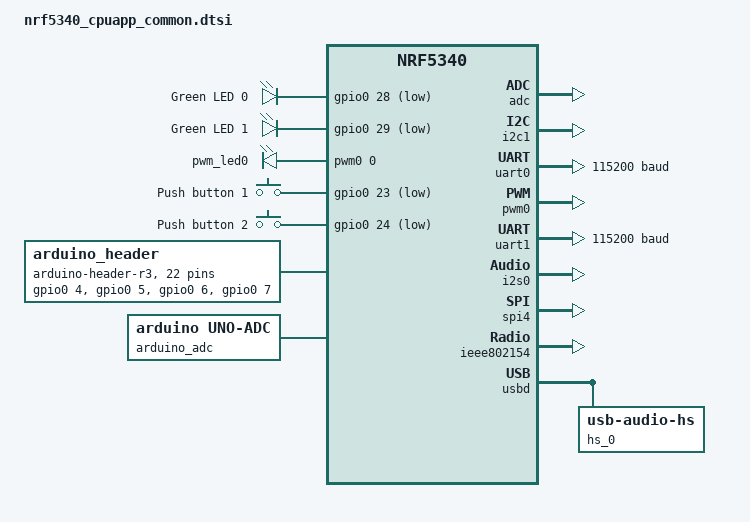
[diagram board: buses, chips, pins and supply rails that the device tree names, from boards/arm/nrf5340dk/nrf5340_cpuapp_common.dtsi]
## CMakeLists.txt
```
# SPDX-License-Identifier: Apache-2.0

cmake_minimum_required(VERSION 3.20.0)
list(APPEND BOARD_ROOT ${CMAKE_CURRENT_SOURCE_DIR}/)
find_package(Zephyr REQUIRED HINTS $ENV{ZEPHYR_BASE})
project(unicast_audio_server)

target_sources(app PRIVATE
  src/app_main.c
  src/hal_uart.c
  src/hal_gpio.c
  # src/hal_i2s.c
  src/audio_usb.c
  src/audio_i2s.c
)

 
zephyr_library_include_directories(${ZEPHYR_BASE}/samples/bluetooth)
zephyr_library_include_directories(app PRIVATE ${CMAKE_CURRENT_SOURCE_DIR}/boards)

# Flag which defines whether application is compiled as gateway/dongle or headset
add_compile_definitions(HEADSET=1)
add_compile_definitions(GATEWAY=2)

if (CONFIG_BT_LL_ACS_NRF53)
      file(TO_CMAKE_PATH ${ZEPHYR_NRF_MODULE_DIR}/lib/bin/bt_ll_acs_nrf53/bin CMAKE_STYLE_LL_ACS_NRF53_BIN)
 
      add_custom_target(
          post_bin ALL
          DEPENDS
          ${BLE5_CTR_SIGN_STEP}
      )
 
endif()
```

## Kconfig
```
#
# Copyright (c) 2018 Nordic Semiconductor ASA
#
# SPDX-License-Identifier: LicenseRef-Nordic-5-Clause
#

menuconfig NRF5340_AUDIO
	 bool "nRF5340 Audio [EXPERIMENTAL]"
	 default y
	 select EXPERIMENTAL

if NRF5340_AUDIO

config AUDIO_DEV
	int "Select which device type to compile for. 1=HEADSET or 2=GATEWAY"
	range 1 2
	default 2
	help
	  Setting this variable to 1 selects that the project is compiled
	  as a HEADSET device.
	  Setting to 2 will compile as a GATEWAY.

choice NRF5340_AUDIO_TRANSPORT_MODE
	prompt "Choose BIS or CIS for ISO transport"
	default TRANSPORT_CIS if WALKIE_TALKIE_DEMO
	default TRANSPORT_CIS

config TRANSPORT_BIS
	bool "Use BIS (Broadcast Isochronous Stream)"

config TRANSPORT_CIS
	bool "Use CIS (Connected Isochronous Stream)"

endchoice

rsource "src/Kconfig"
rsource "Kconfig.defaults"

#----------------------------------------------------------------------------#
endif # NRF5340_AUDIO
 
source "Kconfig.zephyr"
```

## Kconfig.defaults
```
#
# Copyright (c) 2022 Nordic Semiconductor ASA
#
# SPDX-License-Identifier: LicenseRef-Nordic-5-Clause
#

config REBOOT
	default y

config MAIN_THREAD_PRIORITY
	default 10

config MAIN_STACK_SIZE
	default 1800 if SD_CARD_PLAYBACK
	default 1600

config SYSTEM_WORKQUEUE_STACK_SIZE
	default 1200

# As long as thread names are used, config must be set to "y"
config THREAD_NAME
	default y

config NCS_INCLUDE_RPMSG_CHILD_IMAGE
	default !BT_LL_ACS_NRF53

# Workaround to not use fatal_error.c in NCS. Note that the system may still
# reset on error depending on the build configuraion
config RESET_ON_FATAL_ERROR
	default n

# Default Config for Debug and Release build
config HW_CODEC_CIRRUS_LOGIC
	default y

config BT
	default y

config BOARD_ENABLE_DCDC_APP
	default y

config BOARD_ENABLE_DCDC_NET
	default y

config BOARD_ENABLE_CPUNET
	default y

config ZBUS
	default y

config ZBUS_RUNTIME_OBSERVERS
	default y

config ZBUS_MSG_SUBSCRIBER
	default y

config SENSOR
	default y

config REGULATOR
	default y

config CONTIN_ARRAY
	default y

config NRFX_I2S0
	default y

config PCM_MIX
	default y

config PSCM
	default y

config DATA_FIFO
	default y

# Enable NRFX_CLOCK for ACLK control
config NRFX_CLOCK
	default y

config I2C
	default y

choice LIBC_IMPLEMENTATION
	# NOTE: Since we are not using minimal libc, error codes from
	#       minimal libc are not used
	default NEWLIB_LIBC
endchoice

# Audio codec LC3 related defines
# FPU_SHARING enables preservation of the hardware floating point registers
# across context switches to allow multiple threads to perform concurrent
# floating point operations.
config FPU
	default y

config FPU_SHARING
	default y

# Enable SDHC interface
config DISK_DRIVERS
	default y

config DISK_DRIVER_SDMMC
	default y

# Enable SPI interface
config SPI
	default y

# Enable ADC for board version readback
config ADC
	default y

# Allocate buffer on RAM for transferring chunck of data
# from Flash to SPI
config SPI_NRFX_RAM_BUFFER_SIZE
	default 8

# Config the file system
config FILE_SYSTEM
	default n

config FAT_FILESYSTEM_ELM
	default n

config FS_FATFS_LFN
	default n
choice FS_FATFS_LFN_MODE
	# Using stack for LFN work queue
	default FS_FATFS_LFN_MODE_STACK
endchoice

# exFAT enabled to support longer file names and higher transfer speed
config FS_FATFS_EXFAT
	default n

# Set the maximum file name length to 255
config FS_FATFS_MAX_LFN
	default 255

config WATCHDOG
	default y

config TASK_WDT
	default y


# GATEWAY
if AUDIO_DEV = 2

if AUDIO_SOURCE_USB

config USB_DEVICE_STACK
	default y

# Net buf options needed for USB stack
config NET_BUF
	default y

config USB_DEVICE_AUDIO
	default y

## TODO: Nordic VID, change accordingly
config USB_DEVICE_VID
	default 0x1915

## TODO: Change for final product
config USB_DEVICE_PID
	default 0x530A

config USB_DEVICE_PRODUCT
	default "nRF5340 USB Audio"

config USB_DEVICE_MANUFACTURER
	default "Nordic Semiconductor AS"

## Avoid redundant warnings for endpoint setting in USB stack
config USB_DRIVER_LOG_LEVEL
	default 1

config USB_DEVICE_LOG_LEVEL
	default 1

endif # AUDIO_SOURCE_USB

endif # AUDIO_DEV = 2 (GATEWAY)
```

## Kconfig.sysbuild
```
# Copyright 2023 Nordic Semiconductor ASA
# SPDX-License-Identifier: Apache-2.0

source "share/sysbuild/Kconfig"

config NET_CORE_BOARD
	string
	default "nrf5340dk_cpunet" if $(BOARD) = "nrf5340dk_cpuapp"

config NET_CORE_IMAGE_HCI_IPC
	bool "HCI IPC image on network core"
	default y
	depends on NET_CORE_BOARD != ""
```

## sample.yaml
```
sample:
  description: Bluetooth Low Energy Audio Unicast Server sample
  name: Bluetooth Low Energy Audio Unicast Server sample
tests:
  sample.bluetooth.audio_unicast_server:
    harness: bluetooth
    platform_allow:
      - qemu_cortex_m3
      - qemu_x86
      - nrf5340bsim_nrf5340_cpuapp
      - nrf5340dk_cpuapp
      - native_sim
    tags: bluetooth
    integration_platforms:
      - nrf5340dk_cpuapp
    sysbuild: true
  sample.bluetooth.audio_unicast_server.bt_ll_sw_split:
    harness: bluetooth
    platform_allow:
      - nrf52_bsim
      - nrf52dk_nrf52832
      - nrf52840dk_nrf52840
    integration_platforms:
      - nrf52dk_nrf52832
    extra_args: OVERLAY_CONFIG=overlay-bt_ll_sw_split.conf
    tags: bluetooth
```

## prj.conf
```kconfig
#
# Copyright (c) 2021 Nordic Semiconductor
#
# SPDX-License-Identifier: LicenseRef-Nordic-5-Clause
#

# Enable the UART driver
CONFIG_UART_ASYNC_API=y
CONFIG_NRFX_UARTE0=y
CONFIG_SERIAL=y

# Make sure printk is printing to the UART console
CONFIG_CONSOLE=y
CONFIG_UART_CONSOLE=y
CONFIG_I2S=y

# 如果没有使用BT可以禁用netcore！
CONFIG_NCS_INCLUDE_RPMSG_CHILD_IMAGE=n
CONFIG_BT_HCI_VS_EXT=n

CONFIG_BT=y
CONFIG_LOG=y
CONFIG_BT_PERIPHERAL=y
CONFIG_BT_AUDIO=y
CONFIG_BT_BAP_UNICAST_SERVER=y
CONFIG_BT_ASCS_ASE_SNK_COUNT=2
CONFIG_BT_ASCS_ASE_SRC_COUNT=1
CONFIG_BT_ISO_TX_BUF_COUNT=2
# Support an ISO channel per ASE
CONFIG_BT_ISO_MAX_CHAN=2
CONFIG_BT_ISO_PERIPHERAL=y

# Mandatory to support at least 1 for ASCS
CONFIG_BT_ATT_PREPARE_COUNT=1

CONFIG_BT_EXT_ADV=y
CONFIG_BT_DEVICE_NAME="AudioServer"
 

# For LC3 the following configs are needed
CONFIG_FPU=y
CONFIG_LIBLC3=y
# The LC3 codec uses a large amount of stack. This app runs the codec in the work-queue, hence
# inctease stack size for that thread.
CONFIG_SYSTEM_WORKQUEUE_STACK_SIZE=4096
CONFIG_MAIN_STACK_SIZE=4096

CONFIG_BT_BUF_EVT_RX_SIZE=255
CONFIG_BT_BUF_ACL_RX_SIZE=255
CONFIG_BT_BUF_ACL_TX_SIZE=251
CONFIG_BT_BUF_CMD_TX_SIZE=255

CONFIG_BT_TINYCRYPT_ECC=y

 
```

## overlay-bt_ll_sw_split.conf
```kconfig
CONFIG_BT_LL_SW_SPLIT=y
CONFIG_BT_CTLR_ADV_DATA_LEN_MAX=191
CONFIG_BT_CTLR_ISO_TX_BUFFERS=2
CONFIG_BT_CTLR_ISO_TX_BUFFER_SIZE=155
CONFIG_BT_CTLR_ISOAL_SOURCES=1
CONFIG_BT_CTLR_ISOAL_SINKS=2

# Use the below if the sample is sending stale packet sequence number
# CONFIG_BT_CTLR_ADVANCED_FEATURES=y
# CONFIG_BT_CTLR_ISOAL_SN_STRICT=n
```

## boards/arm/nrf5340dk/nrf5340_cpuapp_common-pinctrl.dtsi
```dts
/*
 * Copyright (c) 2022 Nordic Semiconductor
 * SPDX-License-Identifier: Apache-2.0
 */

&pinctrl {
	i2c1_default: i2c1_default {
		group1 {
			psels = <NRF_PSEL(TWIM_SDA, 1, 2)>,
				<NRF_PSEL(TWIM_SCL, 1, 3)>;
		};
	};

	i2c1_sleep: i2c1_sleep {
		group1 {
			psels = <NRF_PSEL(TWIM_SDA, 1, 2)>,
				<NRF_PSEL(TWIM_SCL, 1, 3)>;
			low-power-enable;
		};
	};
	// [NS4168 引脚] http://www.nsiway.com.cn/product/18.html 
	i2s0_default: i2s0_default {
		group1 {
			psels = <NRF_PSEL(I2S_MCK, 0, 12)>;
			nordic,drive-mode = <NRF_DRIVE_H0H1>;
		};
		group2 {
			psels = <NRF_PSEL(I2S_SCK_M, 0, 14)>,
					<NRF_PSEL(I2S_LRCK_M, 0, 16)>,
					<NRF_PSEL(I2S_SDOUT, 0, 13)>,
					<NRF_PSEL(I2S_SDIN, 0, 15)>;
		};
	};

	i2s0_sleep: i2s0_sleep {
		group1 {
			psels = <NRF_PSEL(I2S_MCK, 0, 12)>,
					<NRF_PSEL(I2S_SCK_M, 0, 14)>,
					<NRF_PSEL(I2S_LRCK_M, 0, 16)>,
					<NRF_PSEL(I2S_SDOUT, 0, 13)>,
					<NRF_PSEL(I2S_SDIN, 0, 15)>;
			low-power-enable;
		};
	};

	uart0_default: uart0_default {
		group1 {
			psels = <NRF_PSEL(UART_TX, 0, 20)>,
				<NRF_PSEL(UART_RTS, 0, 19)>;
		};
		group2 {
			psels = <NRF_PSEL(UART_RX, 0, 22)>,
				<NRF_PSEL(UART_CTS, 0, 21)>;
			bias-pull-up;
		};
	};

	uart0_sleep: uart0_sleep {
		group1 {
			psels = <NRF_PSEL(UART_TX, 0, 20)>,
				<NRF_PSEL(UART_RX, 0, 22)>,
				<NRF_PSEL(UART_RTS, 0, 19)>,
				<NRF_PSEL(UART_CTS, 0, 21)>;
			low-power-enable;
		};
	};

	pwm0_default: pwm0_default {
		group1 {
			psels = <NRF_PSEL(PWM_OUT0, 0, 28)>;
		};
	};

	pwm0_sleep: pwm0_sleep {
		group1 {
			psels = <NRF_PSEL(PWM_OUT0, 0, 28)>;
			low-power-enable;
		};
	};

	qspi_default: qspi_default {
		group1 {
			psels = <NRF_PSEL(QSPI_SCK, 0, 17)>,
				<NRF_PSEL(QSPI_IO0, 0, 13)>,
				<NRF_PSEL(QSPI_IO1, 0, 14)>,
				<NRF_PSEL(QSPI_IO2, 0, 15)>,
				<NRF_PSEL(QSPI_IO3, 0, 16)>,
				<NRF_PSEL(QSPI_CSN, 0, 18)>;
			nordic,drive-mode = <NRF_DRIVE_H0H1>;
		};
	};

	qspi_sleep: qspi_sleep {
		group1 {
			psels = <NRF_PSEL(QSPI_SCK, 0, 17)>,
				<NRF_PSEL(QSPI_IO0, 0, 13)>,
				<NRF_PSEL(QSPI_IO1, 0, 14)>,
				<NRF_PSEL(QSPI_IO2, 0, 15)>,
				<NRF_PSEL(QSPI_IO3, 0, 16)>;
			low-power-enable;
		};
		group2 {
			psels = <NRF_PSEL(QSPI_CSN, 0, 18)>;
			low-power-enable;
			bias-pull-up;
		};
	};

	uart1_default: uart1_default {
		group1 {
			psels = <NRF_PSEL(UART_TX, 1, 1)>,
				<NRF_PSEL(UART_RTS, 0, 11)>;
		};
		group2 {
			psels = <NRF_PSEL(UART_RX, 1, 0)>,
				<NRF_PSEL(UART_CTS, 0, 10)>;
			bias-pull-up;
		};
	};

	uart1_sleep: uart1_sleep {
		group1 {
			psels = <NRF_PSEL(UART_TX, 1, 1)>,
				<NRF_PSEL(UART_RX, 1, 0)>,
				<NRF_PSEL(UART_RTS, 0, 11)>,
				<NRF_PSEL(UART_CTS, 0, 10)>;
			low-power-enable;
		};
	};

	spi4_default: spi4_default {
		group1 {
			psels = <NRF_PSEL(SPIM_SCK, 1, 15)>,
				<NRF_PSEL(SPIM_MISO, 1, 14)>,
				<NRF_PSEL(SPIM_MOSI, 1, 13)>;
		};
	};

	spi4_sleep: spi4_sleep {
		group1 {
			psels = <NRF_PSEL(SPIM_SCK, 1, 15)>,
				<NRF_PSEL(SPIM_MISO, 1, 14)>,
				<NRF_PSEL(SPIM_MOSI, 1, 13)>;
			low-power-enable;
		};
	};

};
```

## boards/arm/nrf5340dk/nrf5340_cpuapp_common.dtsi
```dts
/*
 * Copyright (c) 2019-2020 Nordic Semiconductor ASA
 *
 * SPDX-License-Identifier: Apache-2.0
 */
#include "nrf5340_cpuapp_common-pinctrl.dtsi"
#include <zephyr/dt-bindings/input/input-event-codes.h>

/ {

	chosen {
		zephyr,console = &uart0;
		zephyr,shell-uart = &uart0;
		zephyr,uart-mcumgr = &uart0;
		zephyr,bt-mon-uart = &uart0;
		zephyr,bt-c2h-uart = &uart0;
		zephyr,bt-hci-ipc = &ipc0;
		nordic,802154-spinel-ipc = &ipc0;
		zephyr,ieee802154 = &ieee802154;
	};

	leds {
		compatible = "gpio-leds";
		led0: led_0 {
			gpios = <&gpio0 28 GPIO_ACTIVE_LOW>;
			label = "Green LED 0";
		};
		led1: led_1 {
			gpios = <&gpio0 29 GPIO_ACTIVE_LOW>;
			label = "Green LED 1";
		};
	};

	pwmleds {
		compatible = "pwm-leds";
		pwm_led0: pwm_led_0 {
			pwms = <&pwm0 0 PWM_MSEC(20) PWM_POLARITY_INVERTED>;
		};
	};

	buttons {
		compatible = "gpio-keys";
		button0: button_0 {
			gpios = <&gpio0 23 (GPIO_PULL_UP | GPIO_ACTIVE_LOW)>;
			label = "Push button 1";
			zephyr,code = <INPUT_KEY_0>;
		};
		button1: button_1 {
			gpios = <&gpio0 24 (GPIO_PULL_UP | GPIO_ACTIVE_LOW)>;
			label = "Push button 2";
			zephyr,code = <INPUT_KEY_1>;
		};
	};

	arduino_header: connector {
		compatible = "arduino-header-r3";
		#gpio-cells = <2>;
		gpio-map-mask = <0xffffffff 0xffffffc0>;
		gpio-map-pass-thru = <0 0x3f>;
		gpio-map = <0 0 &gpio0 4 0>,	/* A0 */
			   <1 0 &gpio0 5 0>,	/* A1 */
			   <2 0 &gpio0 6 0>,	/* A2 */
			   <3 0 &gpio0 7 0>,	/* A3 */
			   <4 0 &gpio0 25 0>,	/* A4 */
			   <5 0 &gpio0 26 0>,	/* A5 */
			   <6 0 &gpio1 0 0>,	/* D0 */
			   <7 0 &gpio1 1 0>,	/* D1 */
			   <8 0 &gpio1 4 0>,	/* D2 */
			   <9 0 &gpio1 5 0>,	/* D3 */
			   <10 0 &gpio1 6 0>,	/* D4 */
			   <11 0 &gpio1 7 0>,	/* D5 */
			   <12 0 &gpio1 8 0>,	/* D6 */
			   <13 0 &gpio1 9 0>,	/* D7 */
			   <14 0 &gpio1 10 0>,	/* D8 */
			   <15 0 &gpio1 11 0>,	/* D9 */
			   <16 0 &gpio1 12 0>,	/* D10 */
			   <17 0 &gpio1 13 0>,	/* D11 */
			   <18 0 &gpio1 14 0>,	/* D12 */
			   <19 0 &gpio1 15 0>,	/* D13 */
			   <20 0 &gpio1 2 0>,	/* D14 */
			   <21 0 &gpio1 3 0>;	/* D15 */
	};

	arduino_adc: analog-connector {
		compatible = "arduino,uno-adc";
		#io-channel-cells = <1>;
		io-channel-map = <0 &adc 0>,	/* A0 = P0.4 = AIN0 */
				 <1 &adc 1>,	/* A1 = P0.5 = AIN1 */
				 <2 &adc 2>,	/* A2 = P0.6 = AIN2 */
				 <3 &adc 3>,	/* A3 = P0.7 = AIN3 */
				 <4 &adc 4>,	/* A4 = P0.25 = AIN4 */
				 <5 &adc 5>;	/* A5 = P0.26 = AIN5 */
	};

	gpio_fwd: nrf-gpio-forwarder {
		compatible = "nordic,nrf-gpio-forwarder";
		status = "okay";
		uart {
			gpios = <&gpio1 1 0>, <&gpio1 0 0>, <&gpio0 11 0>, <&gpio0 10 0>;
		};
	};

	/* These aliases are provided for compatibility with samples */
	aliases {
		led0 = &led0;
		led1 = &led1;
		pwm-led0 = &pwm_led0;
		sw0 = &button0;
		sw1 = &button1;
		bootloader-led0 = &led0;
		mcuboot-button0 = &button0;
		mcuboot-led0 = &led0;
		watchdog0 = &wdt0;
		spi-flash0 = &mx25r64;
		i2s0 = &i2s0;
	};
};

&adc {
	status = "okay";
};

&gpiote {
	status = "okay";
};

&gpio0 {
	status = "okay";
};

&gpio1 {
	status = "okay";
};

&i2c1 {
	compatible = "nordic,nrf-twim";
	status = "okay";
	pinctrl-0 = <&i2c1_default>;
	pinctrl-1 = <&i2c1_sleep>;
	pinctrl-names = "default", "sleep";
};

&uart0 {
	status = "okay";
	current-speed = <115200>;
	pinctrl-0 = <&uart0_default>;
	pinctrl-1 = <&uart0_sleep>;
	pinctrl-names = "default", "sleep";
};

&pwm0 {
	status = "okay";
	pinctrl-0 = <&pwm0_default>;
	pinctrl-1 = <&pwm0_sleep>;
	pinctrl-names = "default", "sleep";
};

&qspi {
	status = "disabled";
	pinctrl-0 = <&qspi_default>;
	pinctrl-1 = <&qspi_sleep>;
	pinctrl-names = "default", "sleep";
	mx25r64: mx25r6435f@0 {
		compatible = "nordic,qspi-nor";
		reg = <0>;
		/* MX25R64 supports only pp and pp4io */
		writeoc = "pp4io";
		/* MX25R64 supports all readoc options */
		readoc = "read4io";
		sck-frequency = <8000000>;
		jedec-id = [c2 28 17];
		sfdp-bfp = [
			e5 20 f1 ff  ff ff ff 03  44 eb 08 6b  08 3b 04 bb
			ee ff ff ff  ff ff 00 ff  ff ff 00 ff  0c 20 0f 52
			10 d8 00 ff  23 72 f5 00  82 ed 04 cc  44 83 68 44
			30 b0 30 b0  f7 c4 d5 5c  00 be 29 ff  f0 d0 ff ff
		];
		size = <67108864>;
		has-dpd;
		t-enter-dpd = <10000>;
		t-exit-dpd = <35000>;
	};
};

arduino_serial: &uart1 {
	compatible = "nordic,nrf-uarte";
	current-speed = <115200>;
	pinctrl-0 = <&uart1_default>;
	pinctrl-1 = <&uart1_sleep>;
	pinctrl-names = "default", "sleep";
};

arduino_i2c: &i2c1 {};
 
&clock {
	// hfclkaudio-frequency = <11289600>;
	hfclkaudio-frequency = <12165000>;	
};

&i2s0 {
	compatible = "nordic,nrf-i2s";
	status = "okay";
	pinctrl-0 = <&i2s0_default>;
	pinctrl-names = "default";
	// clock-source = "ACLK";
};

arduino_spi: &spi4 {
	compatible = "nordic,nrf-spim";
	status = "okay";
	cs-gpios = <&arduino_header 16 GPIO_ACTIVE_LOW>; /* D10 */
	pinctrl-0 = <&spi4_default>;
	pinctrl-1 = <&spi4_sleep>;
	pinctrl-names = "default", "sleep";
};

&flash0 {

	partitions {
		compatible = "fixed-partitions";
		#address-cells = <1>;
		#size-cells = <1>;

		boot_partition: partition@0 {
			label = "mcuboot";
			reg = <0x00000000 0x00010000>;
		};
		slot0_partition: partition@10000 {
			label = "image-0";
		};
		slot0_ns_partition: partition@50000 {
			label = "image-0-nonsecure";
		};
		slot1_partition: partition@80000 {
			label = "image-1";
		};
		slot1_ns_partition: partition@c0000 {
			label = "image-1-nonsecure";
		};
		/* 0xf0000 to 0xf7fff reserved for TF-M partitions */
		storage_partition: partition@f8000 {
			label = "storage";
			reg = <0x000f8000 0x00008000>;
		};
	};
};

&ieee802154 {
	status = "okay";
};
 
zephyr_udc0: &usbd {
	compatible = "nordic,nrf-usbd";
	status = "okay";

	hs_0: hs_0 {
		compatible = "usb-audio-hs";
		mic-feature-mute;
		mic-channel-l;
		mic-channel-r;

		hp-feature-mute;
		hp-channel-l;
		hp-channel-r;

		// hp-feature-volume;
		volume-max = <0x0500>;
		volume-min = <0xBA00>;
		volume-res = <0x100>;
		// volume-max = <0x0064>;
		// volume-min = <0x0000>;
		// volume-res = <0x64>;
	};
};

/ {

	reserved-memory {
		#address-cells = <1>;
		#size-cells = <1>;
		ranges;

		sram0_image: image@20000000 {
			/* Zephyr image(s) memory */
		};

		sram0_s: image_s@20000000 {
			/* Secure image memory */
		};

		sram0_ns: image_ns@20040000 {
			/* Non-Secure image memory */
		};
	};
};

/* Include partition configuration file */
#include "nrf5340_cpuapp_partition_conf.dtsi"
```

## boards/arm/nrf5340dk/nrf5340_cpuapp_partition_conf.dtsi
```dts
/*
 * Copyright (c) 2019-2020 Nordic Semiconductor ASA
 *
 * SPDX-License-Identifier: Apache-2.0
 */

/*
 * Default Flash planning for NRF5340DK CPUAPP (Application MCU).
 *
 * Zephyr build for nRF5340 with ARM TrustZone-M support,
 * implies building Secure and Non-Secure Zephyr images.
 *
 * Secure image will be placed, by default, in flash0
 * (or in slot0, if MCUboot is present).
 * Secure image will use sram0 for system memory.
 *
 * Non-Secure image will be placed in slot0_ns, and use
 * sram0_ns for system memory.
 *
 * Note that the Secure image only requires knowledge of
 * the beginning of the Non-Secure image (not its size).
 */

&slot0_partition {
	reg = <0x00010000 0x40000>;
};

&slot0_ns_partition {
	reg = <0x00050000 0x30000>;
};

&slot1_partition {
	reg = <0x00080000 0x40000>;
};

&slot1_ns_partition {
	reg = <0x000c0000 0x30000>;
};

/* Default SRAM planning when building for nRF5340 with
 * ARM TrustZone-M support
 * - Lowest 256 kB SRAM allocated to Secure image (sram0_s)
 * - Middle 192 kB allocated to Non-Secure image (sram0_ns)
 * - Upper 64 kB SRAM allocated as Shared memory (sram0_shared)
 *   (see nrf5340_shared_sram_planning_conf.dtsi)
 */
&sram0_image {
	reg = <0x20000000 DT_SIZE_K(448)>;
};

&sram0_s {
	reg = <0x20000000 0x40000>;
};

&sram0_ns {
	reg = <0x20040000 0x30000>;
};

/* Include shared RAM configuration file */
#include "nrf5340_shared_sram_planning_conf.dtsi"
```

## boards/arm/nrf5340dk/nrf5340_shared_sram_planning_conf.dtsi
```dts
/*
 * Copyright (c) 2019 Nordic Semiconductor ASA
 *
 * SPDX-License-Identifier: Apache-2.0
 */

/* Default shared SRAM planning when building for nRF5340.
 * This file is included by both nRF5340 CPUAPP (Application MCU)
 * and nRF5340 CPUNET (Network MCU).
 * - 64 kB SRAM allocated as Shared memory (sram0_shared)
 * - Region defined after the image SRAM of Application MCU
 */

/ {
	chosen {
		/* shared memory reserved for the inter-processor communication */
		zephyr,ipc_shm = &sram0_shared;
	};

	reserved-memory {
		#address-cells = <1>;
		#size-cells = <1>;
		ranges;

		sram0_shared: memory@20070000 {
			/* SRAM allocated to shared memory */
			reg = <0x20070000 0x10000>;
		};
	};
};
```

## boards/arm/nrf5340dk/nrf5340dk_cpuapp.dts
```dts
/*
 * Copyright (c) 2020 Nordic Semiconductor ASA
 *
 * SPDX-License-Identifier: Apache-2.0
 */

/dts-v1/;
#include <nordic/nrf5340_cpuapp_qkaa.dtsi>
#include "nrf5340_cpuapp_common.dtsi"

/ {
	model = "Nordic NRF5340 DK NRF5340 Application";
	compatible = "nordic,nrf5340-dk-nrf5340-cpuapp";

	chosen {
		zephyr,sram = &sram0_image;
		zephyr,flash = &flash0;
		zephyr,code-partition = &slot0_partition;
		zephyr,sram-secure-partition = &sram0_s;
		zephyr,sram-non-secure-partition = &sram0_ns;
	};
};
```

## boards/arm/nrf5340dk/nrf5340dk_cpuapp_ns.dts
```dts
/*
 * Copyright (c) 2020 Nordic Semiconductor ASA
 *
 * SPDX-License-Identifier: Apache-2.0
 */

/dts-v1/;
#include <nordic/nrf5340_cpuappns_qkaa.dtsi>
#include "nrf5340_cpuapp_common.dtsi"

/ {
	model = "Nordic NRF5340 DK NRF5340 Application";
	compatible = "nordic,nrf5340-dk-cpuapp";

	chosen {
		zephyr,sram = &sram0_ns;
		zephyr,flash = &flash0;
		zephyr,code-partition = &slot0_ns_partition;
	};
};
```

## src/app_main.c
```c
/*
 * Copyright (c) 2021-2023 Nordic Semiconductor ASA
 *
 * SPDX-License-Identifier: Apache-2.0
 */

#include <zephyr/types.h>
#include <stddef.h>
#include <errno.h>
#include <zephyr/kernel.h>
#include <zephyr/sys/printk.h>

#include <zephyr/bluetooth/bluetooth.h>
#include <zephyr/bluetooth/byteorder.h>
#include <zephyr/bluetooth/conn.h>
#include <zephyr/bluetooth/audio/audio.h>
#include <zephyr/bluetooth/audio/bap.h>
#include <zephyr/bluetooth/audio/pacs.h>
#include <zephyr/sys/byteorder.h>

#define AVAILABLE_SINK_CONTEXT  (BT_AUDIO_CONTEXT_TYPE_UNSPECIFIED | \
				 BT_AUDIO_CONTEXT_TYPE_CONVERSATIONAL | \
				 BT_AUDIO_CONTEXT_TYPE_MEDIA | \
				 BT_AUDIO_CONTEXT_TYPE_GAME | \
				 BT_AUDIO_CONTEXT_TYPE_INSTRUCTIONAL)

#define AVAILABLE_SOURCE_CONTEXT (BT_AUDIO_CONTEXT_TYPE_UNSPECIFIED | \
				  BT_AUDIO_CONTEXT_TYPE_CONVERSATIONAL | \
				  BT_AUDIO_CONTEXT_TYPE_MEDIA | \
				  BT_AUDIO_CONTEXT_TYPE_GAME)

NET_BUF_POOL_FIXED_DEFINE(tx_pool, CONFIG_BT_ASCS_ASE_SRC_COUNT,
			  BT_ISO_SDU_BUF_SIZE(CONFIG_BT_ISO_TX_MTU),
			  CONFIG_BT_CONN_TX_USER_DATA_SIZE, NULL);

static const struct bt_audio_codec_cap lc3_codec_cap = BT_AUDIO_CODEC_CAP_LC3(
	BT_AUDIO_CODEC_LC3_FREQ_ANY, BT_AUDIO_CODEC_LC3_DURATION_10,
	BT_AUDIO_CODEC_LC3_CHAN_COUNT_SUPPORT(1), 40u, 120u, 1u,
	(BT_AUDIO_CONTEXT_TYPE_CONVERSATIONAL | BT_AUDIO_CONTEXT_TYPE_MEDIA));

static struct bt_conn *default_conn;
static struct k_work_delayable audio_send_work;
static struct bt_bap_stream sink_streams[CONFIG_BT_ASCS_ASE_SNK_COUNT];
static struct audio_source {
	struct bt_bap_stream stream;
	uint16_t seq_num;
	uint16_t max_sdu;
	size_t len_to_send;
} source_streams[CONFIG_BT_ASCS_ASE_SRC_COUNT];
static size_t configured_source_stream_count;

static const struct bt_audio_codec_qos_pref qos_pref =
	BT_AUDIO_CODEC_QOS_PREF(true, BT_GAP_LE_PHY_2M, 0x02, 10, 40000, 40000, 40000, 40000);

static K_SEM_DEFINE(sem_disconnected, 0, 1);

static uint8_t unicast_server_addata[] = {
	BT_UUID_16_ENCODE(BT_UUID_ASCS_VAL), /* ASCS UUID */
	BT_AUDIO_UNICAST_ANNOUNCEMENT_TARGETED, /* Target Announcement */
	BT_BYTES_LIST_LE16(AVAILABLE_SINK_CONTEXT),
	BT_BYTES_LIST_LE16(AVAILABLE_SOURCE_CONTEXT),
	0x00, /* Metadata length */
};

/* TODO: Expand with BAP data */
static const struct bt_data ad[] = {
	BT_DATA_BYTES(BT_DATA_FLAGS, (BT_LE_AD_GENERAL | BT_LE_AD_NO_BREDR)),
	BT_DATA_BYTES(BT_DATA_UUID16_ALL, BT_UUID_16_ENCODE(BT_UUID_ASCS_VAL)),
	BT_DATA(BT_DATA_SVC_DATA16, unicast_server_addata, ARRAY_SIZE(unicast_server_addata)),
};

#define AUDIO_DATA_TIMEOUT_US 1000000UL /* Send data every 1 second */
#define SDU_INTERVAL_US       10000UL   /* 10 ms SDU interval */

static uint16_t get_and_incr_seq_num(const struct bt_bap_stream *stream)
{
	for (size_t i = 0U; i < configured_source_stream_count; i++) {
		if (stream == &source_streams[i].stream) {
			uint16_t seq_num;

			seq_num = source_streams[i].seq_num;

			if (IS_ENABLED(CONFIG_LIBLC3)) {
				source_streams[i].seq_num++;
			} else {
				source_streams[i].seq_num += (AUDIO_DATA_TIMEOUT_US /
							      SDU_INTERVAL_US);
			}

			return seq_num;
		}
	}

	printk("Could not find endpoint from stream %p\n", stream);

	return 0;
}

#if defined(CONFIG_LIBLC3)

#include "lc3.h"

#define MAX_SAMPLE_RATE         48000
#define MAX_FRAME_DURATION_US   10000
#define MAX_NUM_SAMPLES         ((MAX_FRAME_DURATION_US * MAX_SAMPLE_RATE) / USEC_PER_SEC)

static int16_t audio_buf[MAX_NUM_SAMPLES];
static lc3_decoder_t lc3_decoder;
static lc3_decoder_mem_48k_t lc3_decoder_mem;
static int frames_per_sdu;

#endif

void print_hex(const uint8_t *ptr, size_t len)
{
	while (len-- != 0) {
		printk("%02x", *ptr++);
	}
}

static bool print_cb(struct bt_data *data, void *user_data)
{
	const char *str = (const char *)user_data;

	printk("%s: type 0x%02x value_len %u\n", str, data->type, data->data_len);
	print_hex(data->data, data->data_len);
	printk("\n");

	return true;
}

static void print_codec_cfg(const struct bt_audio_codec_cfg *codec_cfg)
{
	printk("codec_cfg 0x%02x cid 0x%04x vid 0x%04x count %u\n", codec_cfg->id, codec_cfg->cid,
	       codec_cfg->vid, codec_cfg->data_len);

	if (codec_cfg->id == BT_HCI_CODING_FORMAT_LC3) {
		enum bt_audio_location chan_allocation;
		int ret;

		/* LC3 uses the generic LTV format - other codecs might do as well */

		bt_audio_data_parse(codec_cfg->data, codec_cfg->data_len, print_cb, "data");

		ret = bt_audio_codec_cfg_get_freq(codec_cfg);
		if (ret > 0) {
			printk("  Frequency: %d Hz\n", bt_audio_codec_cfg_freq_to_freq_hz(ret));
		}

		ret = bt_audio_codec_cfg_get_frame_dur(codec_cfg);
		if (ret > 0) {
			printk("  Frame Duration: %d us\n",
			       bt_audio_codec_cfg_frame_dur_to_frame_dur_us(ret));
		}

		if (bt_audio_codec_cfg_get_chan_allocation(codec_cfg, &chan_allocation) == 0) {
			printk("  Channel allocation: 0x%x\n", chan_allocation);
		}

		printk("  Octets per frame: %d (negative means value not pressent)\n",
		       bt_audio_codec_cfg_get_octets_per_frame(codec_cfg));
		printk("  Frames per SDU: %d\n",
		       bt_audio_codec_cfg_get_frame_blocks_per_sdu(codec_cfg, true));
	} else {
		print_hex(codec_cfg->data, codec_cfg->data_len);
	}

	bt_audio_data_parse(codec_cfg->meta, codec_cfg->meta_len, print_cb, "meta");
}

static void print_qos(const struct bt_audio_codec_qos *qos)
{
	printk("QoS: interval %u framing 0x%02x phy 0x%02x sdu %u "
	       "rtn %u latency %u pd %u\n",
	       qos->interval, qos->framing, qos->phy, qos->sdu,
	       qos->rtn, qos->latency, qos->pd);
}

/**
 * @brief Send audio data on timeout
 *
 * This will send an increasing amount of audio data, starting from 1 octet.
 * The data is just mock data, and does not actually represent any audio.
 *
 * First iteration : 0x00
 * Second iteration: 0x00 0x01
 * Third iteration : 0x00 0x01 0x02
 *
 * And so on, until it wraps around the configured MTU (CONFIG_BT_ISO_TX_MTU)
 *
 * @param work Pointer to the work structure
 */
static void audio_timer_timeout(struct k_work *work)
{
	int ret;
	static uint8_t buf_data[CONFIG_BT_ISO_TX_MTU];
	static bool data_initialized;
	struct net_buf *buf;

	if (!data_initialized) {
		/* TODO: Actually encode some audio data */
		for (size_t i = 0U; i < ARRAY_SIZE(buf_data); i++) {
			buf_data[i] = (uint8_t)i;
		}

		data_initialized = true;
	}

	/* We configured the sink streams to be first in `streams`, so that
	 * we can use `stream[i]` to select sink streams (i.e. streams with
	 * data going to the server)
	 */
	for (size_t i = 0; i < configured_source_stream_count; i++) {
		struct bt_bap_stream *stream = &source_streams[i].stream;

		buf = net_buf_alloc(&tx_pool, K_FOREVER);
		net_buf_reserve(buf, BT_ISO_CHAN_SEND_RESERVE);

		net_buf_add_mem(buf, buf_data, ++source_streams[i].len_to_send);

		ret = bt_bap_stream_send(stream, buf,
					   get_and_incr_seq_num(stream),
					   BT_ISO_TIMESTAMP_NONE);
		if (ret < 0) {
			printk("Failed to send audio data on streams[%zu] (%p): (%d)\n",
			       i, stream, ret);
			net_buf_unref(buf);
		} else {
			printk("Sending mock data with len %zu on streams[%zu] (%p)\n",
			       source_streams[i].len_to_send, i, stream);
		}

		if (source_streams[i].len_to_send >= source_streams[i].max_sdu) {
			source_streams[i].len_to_send = 0;
		}
	}

#if defined(CONFIG_LIBLC3)
	k_work_schedule(&audio_send_work, K_USEC(MAX_FRAME_DURATION_US));
#else
	k_work_schedule(&audio_send_work, K_USEC(AUDIO_DATA_TIMEOUT_US));
#endif
}

static enum bt_audio_dir stream_dir(const struct bt_bap_stream *stream)
{
	for (size_t i = 0U; i < ARRAY_SIZE(source_streams); i++) {
		if (stream == &source_streams[i].stream) {
			return BT_AUDIO_DIR_SOURCE;
		}
	}

	for (size_t i = 0U; i < ARRAY_SIZE(sink_streams); i++) {
		if (stream == &sink_streams[i]) {
			return BT_AUDIO_DIR_SINK;
		}
	}

	__ASSERT(false, "Invalid stream %p", stream);
	return 0;
}

static struct bt_bap_stream *stream_alloc(enum bt_audio_dir dir)
{
	if (dir == BT_AUDIO_DIR_SOURCE) {
		for (size_t i = 0; i < ARRAY_SIZE(source_streams); i++) {
			struct bt_bap_stream *stream = &source_streams[i].stream;

			if (!stream->conn) {
				return stream;
			}
		}
	} else {
		for (size_t i = 0; i < ARRAY_SIZE(sink_streams); i++) {
			struct bt_bap_stream *stream = &sink_streams[i];

			if (!stream->conn) {
				return stream;
			}
		}
	}

	return NULL;
}

static int lc3_config(struct bt_conn *conn, const struct bt_bap_ep *ep, enum bt_audio_dir dir,
		      const struct bt_audio_codec_cfg *codec_cfg, struct bt_bap_stream **stream,
		      struct bt_audio_codec_qos_pref *const pref, struct bt_bap_ascs_rsp *rsp)
{
	printk("ASE Codec Config: conn %p ep %p dir %u\n", conn, ep, dir);

	print_codec_cfg(codec_cfg);

	*stream = stream_alloc(dir);
	if (*stream == NULL) {
		printk("No streams available\n");
		*rsp = BT_BAP_ASCS_RSP(BT_BAP_ASCS_RSP_CODE_NO_MEM, BT_BAP_ASCS_REASON_NONE);

		return -ENOMEM;
	}

	printk("ASE Codec Config stream %p\n", *stream);

	if (dir == BT_AUDIO_DIR_SOURCE) {
		configured_source_stream_count++;
	}

	*pref = qos_pref;

#if defined(CONFIG_LIBLC3)
	/* Nothing to free as static memory is used */
	lc3_decoder = NULL;
#endif

	return 0;
}

static int lc3_reconfig(struct bt_bap_stream *stream, enum bt_audio_dir dir,
			const struct bt_audio_codec_cfg *codec_cfg,
			struct bt_audio_codec_qos_pref *const pref, struct bt_bap_ascs_rsp *rsp)
{
	printk("ASE Codec Reconfig: stream %p\n", stream);

	print_codec_cfg(codec_cfg);

#if defined(CONFIG_LIBLC3)
	/* Nothing to free as static memory is used */
	lc3_decoder = NULL;
#endif

	*rsp = BT_BAP_ASCS_RSP(BT_BAP_ASCS_RSP_CODE_CONF_UNSUPPORTED, BT_BAP_ASCS_REASON_NONE);

	/* We only support one QoS at the moment, reject changes */
	return -ENOEXEC;
}

static int lc3_qos(struct bt_bap_stream *stream, const struct bt_audio_codec_qos *qos,
		   struct bt_bap_ascs_rsp *rsp)
{
	printk("QoS: stream %p qos %p\n", stream, qos);

	print_qos(qos);

	for (size_t i = 0U; i < configured_source_stream_count; i++) {
		if (stream == &source_streams[i].stream) {
			source_streams[i].max_sdu = qos->sdu;
			break;
		}
	}

	return 0;
}

static int lc3_enable(struct bt_bap_stream *stream, const uint8_t meta[], size_t meta_len,
		      struct bt_bap_ascs_rsp *rsp)
{
	printk("Enable: stream %p meta_len %zu\n", stream, meta_len);

#if defined(CONFIG_LIBLC3)
	{
		int frame_duration_us;
		int freq;
		int ret;

		ret = bt_audio_codec_cfg_get_freq(stream->codec_cfg);
		if (ret > 0) {
			freq = bt_audio_codec_cfg_freq_to_freq_hz(ret);
		} else {
			printk("Error: Codec frequency not set, cannot start codec.");
			*rsp = BT_BAP_ASCS_RSP(BT_BAP_ASCS_RSP_CODE_CONF_INVALID,
					       BT_BAP_ASCS_REASON_CODEC_DATA);
			return ret;
		}

		ret = bt_audio_codec_cfg_get_frame_dur(stream->codec_cfg);
		if (ret > 0) {
			frame_duration_us = bt_audio_codec_cfg_frame_dur_to_frame_dur_us(ret);
		} else {
			printk("Error: Frame duration not set, cannot start codec.");
			*rsp = BT_BAP_ASCS_RSP(BT_BAP_ASCS_RSP_CODE_CONF_INVALID,
					       BT_BAP_ASCS_REASON_CODEC_DATA);
			return ret;
		}

		frames_per_sdu =
			bt_audio_codec_cfg_get_frame_blocks_per_sdu(stream->codec_cfg, true);

		lc3_decoder = lc3_setup_decoder(frame_duration_us,
						freq,
						0, /* No resampling */
						&lc3_decoder_mem);

		if (lc3_decoder == NULL) {
			printk("ERROR: Failed to setup LC3 encoder - wrong parameters?\n");
			*rsp = BT_BAP_ASCS_RSP(BT_BAP_ASCS_RSP_CODE_CONF_INVALID,
					       BT_BAP_ASCS_REASON_CODEC_DATA);
			return -1;
		}
	}
#endif

	return 0;
}

static int lc3_start(struct bt_bap_stream *stream, struct bt_bap_ascs_rsp *rsp)
{
	printk("Start: stream %p\n", stream);

	for (size_t i = 0U; i < configured_source_stream_count; i++) {
		if (stream == &source_streams[i].stream) {
			source_streams[i].seq_num = 0U;
			source_streams[i].len_to_send = 0U;
			break;
		}
	}

	if (configured_source_stream_count > 0 &&
	    !k_work_delayable_is_pending(&audio_send_work)) {

		/* Start send timer */
		k_work_schedule(&audio_send_work, K_MSEC(0));
	}

	return 0;
}

static bool data_func_cb(struct bt_data *data, void *user_data)
{
	struct bt_bap_ascs_rsp *rsp = (struct bt_bap_ascs_rsp *)user_data;

	if (!BT_AUDIO_METADATA_TYPE_IS_KNOWN(data->type)) {
		printk("Invalid metadata type %u or length %u\n", data->type, data->data_len);
		*rsp = BT_BAP_ASCS_RSP(BT_BAP_ASCS_RSP_CODE_METADATA_REJECTED, data->type);

		return -EINVAL;
	}

	return true;
}

static int lc3_metadata(struct bt_bap_stream *stream, const uint8_t meta[], size_t meta_len,
			struct bt_bap_ascs_rsp *rsp)
{
	printk("Metadata: stream %p meta_len %zu\n", stream, meta_len);

	return bt_audio_data_parse(meta, meta_len, data_func_cb, rsp);
}

static int lc3_disable(struct bt_bap_stream *stream, struct bt_bap_ascs_rsp *rsp)
{
	printk("Disable: stream %p\n", stream);

	return 0;
}

static int lc3_stop(struct bt_bap_stream *stream, struct bt_bap_ascs_rsp *rsp)
{
	printk("Stop: stream %p\n", stream);

	return 0;
}

static int lc3_release(struct bt_bap_stream *stream, struct bt_bap_ascs_rsp *rsp)
{
	printk("Release: stream %p\n", stream);
	return 0;
}

static const struct bt_bap_unicast_server_cb unicast_server_cb = {
	.config = lc3_config,
	.reconfig = lc3_reconfig,
	.qos = lc3_qos,
	.enable = lc3_enable,
	.start = lc3_start,
	.metadata = lc3_metadata,
	.disable = lc3_disable,
	.stop = lc3_stop,
	.release = lc3_release,
};


#if defined(CONFIG_LIBLC3)
 
static void stream_recv_lc3_codec(struct bt_bap_stream *stream,
				  const struct bt_iso_recv_info *info,
				  struct net_buf *buf)
{
	const uint8_t *in_buf;
	uint8_t err = -1;
	const int octets_per_frame = buf->len / frames_per_sdu;

	if (lc3_decoder == NULL) {
		printk("LC3 decoder not setup, cannot decode data.\n");
		return;
	}

	if ((info->flags & BT_ISO_FLAGS_VALID) == 0) {
		printk("Bad packet: 0x%02X\n", info->flags);

		in_buf = NULL;
	} else {
		in_buf = buf->data;
	}

	/* This code is to demonstrate the use of the LC3 codec. On an actual implementation
	 * it might be required to offload the processing to another task to avoid blocking the
	 * BT stack.
	 */
	for (int i = 0; i < frames_per_sdu; i++) {

		int offset = 0;

		err = lc3_decode(lc3_decoder, in_buf + offset, octets_per_frame,
				 LC3_PCM_FORMAT_S16, audio_buf, 1);

		if (in_buf != NULL) {
			offset += octets_per_frame;
		}
	}

	printk("RX stream %p len %u\n", stream, buf->len);

	if (err == 1) {
		printk("  decoder performed PLC\n");
		return;

	} else if (err < 0) {
		printk("  decoder failed - wrong parameters?\n");
		return;
	}
}

#else

static void stream_recv(struct bt_bap_stream *stream,
			const struct bt_iso_recv_info *info,
			struct net_buf *buf)
{
	if (info->flags & BT_ISO_FLAGS_VALID) {
		printk("Incoming audio on stream %p len %u\n", stream, buf->len);
	}
}

#endif

static void stream_stopped(struct bt_bap_stream *stream, uint8_t reason)
{
	printk("Audio Stream %p stopped with reason 0x%02X\n", stream, reason);

	/* Stop send timer */
	k_work_cancel_delayable(&audio_send_work);
}


static void stream_enabled_cb(struct bt_bap_stream *stream)
{
	/* The unicast server is responsible for starting sink ASEs after the
	 * client has enabled them.
	 */
	if (stream_dir(stream) == BT_AUDIO_DIR_SINK) {
		const int err = bt_bap_stream_start(stream);

		if (err != 0) {
			printk("Failed to start stream %p: %d", stream, err);
		}
	}
}

static struct bt_bap_stream_ops stream_ops = {
#if defined(CONFIG_LIBLC3)
	.recv = stream_recv_lc3_codec,
#else
	.recv = stream_recv,
#endif
	.stopped = stream_stopped,
	.enabled = stream_enabled_cb,
};

static void connected(struct bt_conn *conn, uint8_t err)
{
	char addr[BT_ADDR_LE_STR_LEN];

	bt_addr_le_to_str(bt_conn_get_dst(conn), addr, sizeof(addr));

	if (err != 0) {
		printk("Failed to connect to %s (%u)\n", addr, err);

		default_conn = NULL;
		return;
	}

	printk("Connected: %s\n", addr);
	default_conn = bt_conn_ref(conn);
}

static void disconnected(struct bt_conn *conn, uint8_t reason)
{
	char addr[BT_ADDR_LE_STR_LEN];

	if (conn != default_conn) {
		return;
	}

	bt_addr_le_to_str(bt_conn_get_dst(conn), addr, sizeof(addr));

	printk("Disconnected: %s (reason 0x%02x)\n", addr, reason);

	bt_conn_unref(default_conn);
	default_conn = NULL;

	k_sem_give(&sem_disconnected);
}

BT_CONN_CB_DEFINE(conn_callbacks) = {
	.connected = connected,
	.disconnected = disconnected,
};

static struct bt_pacs_cap cap_sink = {
	.codec_cap = &lc3_codec_cap,
};

static struct bt_pacs_cap cap_source = {
	.codec_cap = &lc3_codec_cap,
};

static int set_location(void)
{
	int err;

	if (IS_ENABLED(CONFIG_BT_PAC_SNK_LOC)) {
		err = bt_pacs_set_location(BT_AUDIO_DIR_SINK,
					   BT_AUDIO_LOCATION_FRONT_CENTER);
		if (err != 0) {
			printk("Failed to set sink location (err %d)\n", err);
			return err;
		}
	}

	if (IS_ENABLED(CONFIG_BT_PAC_SRC_LOC)) {
		err = bt_pacs_set_location(BT_AUDIO_DIR_SOURCE,
					   (BT_AUDIO_LOCATION_FRONT_LEFT |
					    BT_AUDIO_LOCATION_FRONT_RIGHT));
		if (err != 0) {
			printk("Failed to set source location (err %d)\n", err);
			return err;
		}
	}

	printk("Location successfully set\n");

	return 0;
}

static int set_supported_contexts(void)
{
	int err;

	if (IS_ENABLED(CONFIG_BT_PAC_SNK)) {
		err = bt_pacs_set_supported_contexts(BT_AUDIO_DIR_SINK, AVAILABLE_SINK_CONTEXT);
		if (err != 0) {
			printk("Failed to set sink supported contexts (err %d)\n",
			       err);

			return err;
		}
	}

	if (IS_ENABLED(CONFIG_BT_PAC_SRC)) {
		err = bt_pacs_set_supported_contexts(BT_AUDIO_DIR_SOURCE, AVAILABLE_SOURCE_CONTEXT);
		if (err != 0) {
			printk("Failed to set source supported contexts (err %d)\n",
			       err);

			return err;
		}
	}

	printk("Supported contexts successfully set\n");

	return 0;
}

static int set_available_contexts(void)
{
	int err;

	if (IS_ENABLED(CONFIG_BT_PAC_SNK)) {
		err = bt_pacs_set_available_contexts(BT_AUDIO_DIR_SINK, AVAILABLE_SINK_CONTEXT);
		if (err != 0) {
			printk("Failed to set sink available contexts (err %d)\n", err);
			return err;
		}
	}

	if (IS_ENABLED(CONFIG_BT_PAC_SRC)) {
		err = bt_pacs_set_available_contexts(BT_AUDIO_DIR_SOURCE, AVAILABLE_SOURCE_CONTEXT);
		if (err != 0) {
			printk("Failed to set source available contexts (err %d)\n", err);
			return err;
		}
	}

	printk("Available contexts successfully set\n");
	return 0;
}
#include <zephyr/logging/log.h>
#include "hal_uart.h"
#include "hal_gpio.h"
#include "audio_i2s.h"
#include "audio_usb.h"
#include <stdio.h>
#include <stdlib.h>
#include <string.h>

LOG_MODULE_REGISTER(app_main, LOG_LEVEL_DBG);
 
void uart_recv_callback(uart_port_t uart_port, uint8_t *data, uint8_t len)
{
	LOG_INF("port[%d] = %s | %d", uart_port, data, len);
	LOG_HEXDUMP_INF(data, len, "hex");
	int freq_value = atoi(data);
	hfclkaudio_set(freq_value);
}

int main(void)
{
	struct bt_le_ext_adv *adv;
	int err;

	hal_uart_init(uart_recv_callback);

	hal_gpio_init();

	audio_usb_init();
	
	return 0;

	err = bt_enable(NULL);
	if (err != 0) {
		printk("Bluetooth init failed (err %d)\n", err);
		return 0;
	} 

	printk("Bluetooth initialized\n");

	err = bt_bap_unicast_server_register_cb(&unicast_server_cb);
	if (err != 0) {
		return 0;
	}
	printk("bt_bap_unicast_server_register_cb okkkk...\r\n");
	bt_pacs_cap_register(BT_AUDIO_DIR_SINK, &cap_sink);
	bt_pacs_cap_register(BT_AUDIO_DIR_SOURCE, &cap_source);
	printk("bt_bap_stream_cb_register...\r\n");
	for (size_t i = 0; i < ARRAY_SIZE(sink_streams); i++) {
		bt_bap_stream_cb_register(&sink_streams[i], &stream_ops);
	}

	for (size_t i = 0; i < ARRAY_SIZE(source_streams); i++) {
		bt_bap_stream_cb_register(&source_streams[i].stream, &stream_ops);
	}
	printk("set_location...\r\n");
	err = set_location();
	if (err != 0) {
		return 0;
	}

	err = set_supported_contexts();
	if (err != 0) {
		return 0;
	}

	err = set_available_contexts();
	if (err != 0) {
		return 0;
	}

	/* Create a non-connectable non-scannable advertising set */
	err = bt_le_ext_adv_create(BT_LE_EXT_ADV_CONN_NAME, NULL, &adv);
	if (err) {
		printk("Failed to create advertising set (err %d)\n", err);
		return 0;
	}

	err = bt_le_ext_adv_set_data(adv, ad, ARRAY_SIZE(ad), NULL, 0);
	if (err) {
		printk("Failed to set advertising data (err %d)\n", err);
		return 0;
	}

	while (true) {
		struct k_work_sync sync;

		err = bt_le_ext_adv_start(adv, BT_LE_EXT_ADV_START_DEFAULT);
		if (err) {
			printk("Failed to start advertising set (err %d)\n", err);
			return 0;
		}

		printk("Advertising successfully started\n");

		if (CONFIG_BT_ASCS_ASE_SRC_COUNT > 0) {
			/* Start send timer */
			k_work_init_delayable(&audio_send_work, audio_timer_timeout);
		}

		err = k_sem_take(&sem_disconnected, K_FOREVER);
		if (err != 0) {
			printk("failed to take sem_disconnected (err %d)\n", err);
			return 0;
		}

		/* reset data */
		configured_source_stream_count = 0U;
		k_work_cancel_delayable_sync(&audio_send_work, &sync);

	}
	return 0;
}
```

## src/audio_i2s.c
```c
/*
 *  Copyright (c) 2021, PACKETCRAFT, INC.
 *
 *  SPDX-License-Identifier: LicenseRef-PCFT
 */

#include "audio_i2s.h"

#include <zephyr/kernel.h>
#include <zephyr/device.h>
#include <zephyr/drivers/pinctrl.h>
#include <nrfx_i2s.h>
#include <nrfx_clock.h>

// #include "audio_sync_timer.h"

#ifdef CONFIG_NRF5340_AUDIO
 
#define I2S_NL 	DT_NODELABEL(i2s0)
PINCTRL_DT_DEFINE(I2S_NL);

/* Audio clock - nRF5340 Analog Phase-Locked Loop (APLL) */
#define APLL_FREQ_CENTER 	39854
#define APLL_FREQ_MIN	 	36834
#define APLL_FREQ_MAX	 	42874

#define HFCLKAUDIO_12_288_MHZ 	APLL_FREQ_CENTER   // 39854

enum audio_i2s_state {
	AUDIO_I2S_STATE_UNINIT,
	AUDIO_I2S_STATE_IDLE,
	AUDIO_I2S_STATE_STARTED,
};

static enum audio_i2s_state state = AUDIO_I2S_STATE_UNINIT;
 
#if CONFIG_AUDIO_SAMPLE_RATE_16000_HZ
#define CONFIG_AUDIO_RATIO NRF_I2S_RATIO_384X
#elif CONFIG_AUDIO_SAMPLE_RATE_24000_HZ
#define CONFIG_AUDIO_RATIO NRF_I2S_RATIO_256X
#elif CONFIG_AUDIO_SAMPLE_RATE_48000_HZ
#define CONFIG_AUDIO_RATIO NRF_I2S_RATIO_128X
#else
#error "Current AUDIO_SAMPLE_RATE_HZ setting not supported"
#endif

#ifndef NRFX_I2S0_INST_IDX		
#define NRFX_I2S0_INST_IDX	0
#endif
 
static nrfx_i2s_t i2s_inst = NRFX_I2S_INSTANCE(0);


static const nrfx_i2s_config_t i2s_cfg = {
	/* Pins are configured by pinctrl. */
	.skip_gpio_cfg = true,
	.skip_psel_cfg = true,
	.sdin_pin = NRF_I2S_PIN_NOT_CONNECTED,
	.mck_pin = NRF_I2S_PIN_NOT_CONNECTED,
	.irq_priority = DT_IRQ(I2S_NL, priority),
	.mode = NRF_I2S_MODE_MASTER,
	.format = NRF_I2S_FORMAT_I2S,
	.alignment = NRF_I2S_ALIGN_LEFT,
	.ratio = CONFIG_AUDIO_RATIO,
	.mck_setup = NRF_I2S_MCK_32MDIV2,
#if (CONFIG_AUDIO_BIT_DEPTH_16)
	.sample_width = NRF_I2S_SWIDTH_16BIT,
#elif (CONFIG_AUDIO_BIT_DEPTH_24)
	.sample_width = NRF_I2S_SWIDTH_24BIT,
#elif (CONFIG_AUDIO_BIT_DEPTH_32)
	.sample_width = NRF_I2S_SWIDTH_32BIT,
#else
#error Invalid bit depth selected
#endif /* (CONFIG_AUDIO_BIT_DEPTH_16) */
	.channels = NRF_I2S_CHANNELS_RIGHT,
	.clksrc = NRF_I2S_CLKSRC_ACLK,
	.enable_bypass = false,
};

static i2s_blk_comp_callback_t i2s_blk_comp_callback;
 
// 调用 audio_i2s_start(i2s_tx_buf, NULL)， 就会一直刷新这个回调后
static void i2s_comp_handler(nrfx_i2s_buffers_t const *released_bufs, uint32_t status)
{
	uint32_t frame_start_ts = 0x01;//audio_sync_timer_capture_get();

	if ((status == NRFX_I2S_STATUS_NEXT_BUFFERS_NEEDED) && i2s_blk_comp_callback) {
		i2s_blk_comp_callback(frame_start_ts, released_bufs->p_rx_buffer, released_bufs->p_tx_buffer);
	} else {
		printk("<i2s_comp_handler>, status = %d\n", status);
	}
}

nrfx_err_t audio_i2s_set_next_buf(const uint8_t *tx_buf, uint32_t *rx_buf)
{
	__ASSERT_NO_MSG(state == AUDIO_I2S_STATE_STARTED);
#if 0
	if (IS_ENABLED(CONFIG_STREAM_BIDIRECTIONAL) || (CONFIG_AUDIO_DEV == GATEWAY)) {
		__ASSERT_NO_MSG(rx_buf != NULL);
	}

	if (IS_ENABLED(CONFIG_STREAM_BIDIRECTIONAL) || (CONFIG_AUDIO_DEV == HEADSET)) {
		__ASSERT_NO_MSG(tx_buf != NULL);
	}
#endif

	const nrfx_i2s_buffers_t i2s_buf = { 
		.p_rx_buffer = rx_buf,
		.p_tx_buffer = (uint32_t *)tx_buf,
	};

	nrfx_err_t ret;
	ret = nrfx_i2s_next_buffers_set(&i2s_inst, &i2s_buf);
	__ASSERT_NO_MSG(ret == NRFX_SUCCESS);
	return ret;
}

nrfx_err_t audio_i2s_start(const uint8_t *tx_buf, uint32_t *rx_buf)
{
	__ASSERT_NO_MSG(state == AUDIO_I2S_STATE_IDLE);
#if 0
	if (IS_ENABLED(CONFIG_STREAM_BIDIRECTIONAL) || (CONFIG_AUDIO_DEV == GATEWAY)) {
		__ASSERT_NO_MSG(rx_buf != NULL);
	}

	if (IS_ENABLED(CONFIG_STREAM_BIDIRECTIONAL) || (CONFIG_AUDIO_DEV == HEADSET)) {
		__ASSERT_NO_MSG(tx_buf != NULL);
	}
#endif
	const nrfx_i2s_buffers_t i2s_buf = { 
		.p_rx_buffer = rx_buf,
		.p_tx_buffer = (uint32_t *)tx_buf, 
	};

	nrfx_err_t ret;

	/* Buffer size in 32-bit words */
	ret = nrfx_i2s_start(&i2s_inst, &i2s_buf, I2S_SAMPLES_NUM, 0);
	__ASSERT_NO_MSG(ret == NRFX_SUCCESS);

	state = AUDIO_I2S_STATE_STARTED;

	printk("audio_i2s_start... %d\n", I2S_SAMPLES_NUM);

	return ret;
}

void audio_i2s_stop(void)
{
	__ASSERT_NO_MSG(state == AUDIO_I2S_STATE_STARTED);

	nrfx_i2s_stop(&i2s_inst);

	state = AUDIO_I2S_STATE_IDLE;
}

void audio_i2s_blk_comp_cb_register(i2s_blk_comp_callback_t blk_comp_callback)
{
	i2s_blk_comp_callback = blk_comp_callback;
}


void hfclkaudio_set(uint16_t freq_value)
{
	uint16_t freq_val = freq_value;

	freq_val = MIN(freq_val, APLL_FREQ_MAX);
	freq_val = MAX(freq_val, APLL_FREQ_MIN);

	nrfx_clock_hfclkaudio_config_set(freq_val);
}

ISR_DIRECT_DECLARE(i2s_isr_handler) 
{
	nrfx_i2s_0_irq_handler();
	ISR_DIRECT_PM();
		
	return 1; 
}

void audio_i2s_init(void)
{
	__ASSERT_NO_MSG(state == AUDIO_I2S_STATE_UNINIT);

	nrfx_err_t ret;

	hfclkaudio_set(HFCLKAUDIO_12_288_MHZ);

	NRF_CLOCK->TASKS_HFCLKAUDIOSTART = 1;

	/* Wait for ACLK to start */
	while (!NRF_CLOCK_EVENT_HFCLKAUDIOSTARTED) {
		k_sleep(K_MSEC(1));
	}

	ret = pinctrl_apply_state(PINCTRL_DT_DEV_CONFIG_GET(I2S_NL), PINCTRL_STATE_DEFAULT);
	__ASSERT_NO_MSG(ret == 0);

	// 会报错：Has IRQ_CONNECT or IRQ_DIRECT_CONNECT accidentally been invoked on the same irq multiple times?
	// IRQ_CONNECT(DT_IRQN(I2S_NL), DT_IRQ(I2S_NL, priority), nrfx_isr, nrfx_i2s_0_irq_handler, 0);
	IRQ_DIRECT_CONNECT(DT_IRQN(I2S_NL), DT_IRQ(I2S_NL, priority), i2s_isr_handler, 0);
	irq_enable(DT_IRQN(I2S_NL));
 
	ret = nrfx_i2s_init(&i2s_inst, &i2s_cfg, i2s_comp_handler);
	__ASSERT_NO_MSG(ret == NRFX_SUCCESS);
 
	state = AUDIO_I2S_STATE_IDLE;

	printk("nrfx_i2s_init NRFX_SUCCESS...\r\n");
}
#endif
```

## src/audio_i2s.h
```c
/*
 *  Copyright (c) 2021, PACKETCRAFT, INC.
 *
 *  SPDX-License-Identifier: LicenseRef-PCFT
 */

#ifndef _AUDIO_I2S_H_
#define _AUDIO_I2S_H_

#include <zephyr/kernel.h>
#include <stdint.h>

/*
 * Calculate the number of bytes of one frame, as per now, this frame can either
 * be 10 or 7.5 ms. Since we can't have floats in a define we use 15/2 instead
 */

#if ((CONFIG_AUDIO_FRAME_DURATION_US == 7500) && CONFIG_SW_CODEC_LC3)

#define FRAME_SIZE_BYTES                                                                           \
	((CONFIG_I2S_LRCK_FREQ_HZ / 1000 * 15 / 2) * CONFIG_I2S_CH_NUM *                           \
	 CONFIG_AUDIO_BIT_DEPTH_OCTETS)
#else
#define FRAME_SIZE_BYTES                                                                           \
	((CONFIG_I2S_LRCK_FREQ_HZ / 1000 * 10) * CONFIG_I2S_CH_NUM * CONFIG_AUDIO_BIT_DEPTH_OCTETS)
#endif /* ((CONFIG_AUDIO_FRAME_DURATION_US == 7500) && CONFIG_SW_CODEC_LC3) */

#define BLOCK_SIZE_BYTES (FRAME_SIZE_BYTES / CONFIG_FIFO_FRAME_SPLIT_NUM)

/*
 * Calculate the number of samples in a block, divided by the number of samples
 * that will fit within a 32-bit word
 */
#define I2S_SAMPLES_NUM                                                                            \
	(BLOCK_SIZE_BYTES / (CONFIG_AUDIO_BIT_DEPTH_OCTETS) / (32 / CONFIG_AUDIO_BIT_DEPTH_BITS))

/**
 * @brief I2S block complete event callback type
 *
 * @param frame_start_ts I2S frame start timestamp
 * @param rx_buf_released Pointer to the released buffer containing received data
 * @param tx_buf_released Pointer to the released buffer that was used to sent data
 */
typedef void (*i2s_blk_comp_callback_t)(uint32_t frame_start_ts, uint32_t *rx_buf_released,
					uint32_t const *tx_buf_released);

/**
 * @brief Supply the buffers to be used in the next part of the I2S transfer
 *
 * @param tx_buf Pointer to the buffer with data to be sent
 * @param rx_buf Pointer to the buffer for received data
 */
nrfx_err_t audio_i2s_set_next_buf(const uint8_t *tx_buf, uint32_t *rx_buf);

/**
 * @brief Start the continuous I2S transfer
 *
 * @param tx_buf Pointer to the buffer with data to be sent
 * @param rx_buf Pointer to the buffer for received data
 */
nrfx_err_t audio_i2s_start(const uint8_t *tx_buf, uint32_t *rx_buf);

/**
 * @brief Stop the continuous I2S transfer
 */
void audio_i2s_stop(void);

/**
 * @brief Register callback function for I2S block complete event
 *
 * @param blk_comp_callback Callback function
 */
void audio_i2s_blk_comp_cb_register(i2s_blk_comp_callback_t blk_comp_callback);

void hfclkaudio_set(uint16_t freq_value);

/**
 * @brief Initialize I2S module
 */
void audio_i2s_init(void);

#endif /* _AUDIO_I2S_H_ */
```

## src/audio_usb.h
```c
/*
 * Copyright (c) 2018 Nordic Semiconductor ASA
 *
 * SPDX-License-Identifier: LicenseRef-Nordic-5-Clause
 */

#ifndef _AUDIO_USB_H_
#define _AUDIO_USB_H_

#include "data_fifo.h"

#if (CONFIG_AUDIO_SOURCE_USB && !CONFIG_AUDIO_SAMPLE_RATE_48000_HZ)
/* Only 48kHz is supported when using USB */
#error USB only supports 48kHz
#endif /* (CONFIG_AUDIO_SOURCE_USB && !CONFIG_AUDIO_SAMPLE_RATE_48000_HZ) */

/**
 * @brief Set fifo buffers to be used by USB module and start sending/receiving data
 *
 * @param fifo_tx_in  Pointer to fifo structure for tx
 * @param fifo_rx_in  Pointer to fifo structure for rx
 *
 * @return 0 if successful, error otherwise
 */
int audio_usb_start(struct data_fifo *fifo_tx_in, struct data_fifo *fifo_rx_in);

/**
 * @brief Stop sending/receiving data
 *
 * @note The USB device will still be running, but all data sent to
 *       it will be discarded
 */
void audio_usb_stop(void);

/**
 * @brief Stop and disable USB device
 *
 * @return 0 if successful, error otherwise
 */
int audio_usb_disable(void);

/**
 * @brief Register and enable USB device
 *
 * @return 0 if successful, error otherwise
 */
int audio_usb_init(void);

#endif /* _AUDIO_USB_H_ */
```
